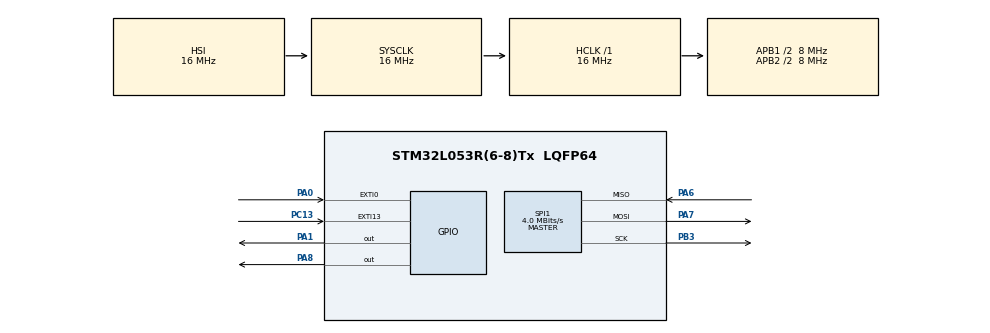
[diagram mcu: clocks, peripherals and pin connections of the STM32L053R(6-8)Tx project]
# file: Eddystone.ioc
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ADC.ContinuousConvMode=ENABLE
ADC.DMAContinuousRequests=ENABLE
ADC.EnableAnalogWatchDog=false
ADC.LowPowerAutoOff=ENABLE
ADC.LowPowerAutoWait=ENABLE
ADC.SamplingTime=ADC_SAMPLETIME_239CYCLES_5
Dma.ADC.0.Direction=DMA_PERIPH_TO_MEMORY
Dma.ADC.0.Instance=DMA1_Channel1
Dma.ADC.0.MemDataAlignment=DMA_MDATAALIGN_HALFWORD
Dma.ADC.0.MemInc=DMA_MINC_ENABLE
Dma.ADC.0.Mode=DMA_NORMAL
Dma.ADC.0.PeriphDataAlignment=DMA_PDATAALIGN_HALFWORD
Dma.ADC.0.PeriphInc=DMA_PINC_DISABLE
Dma.ADC.0.Priority=DMA_PRIORITY_MEDIUM
Dma.ADC.0.Request=DMA_REQUEST_0
Dma.Request0=ADC
Dma.Request1=SPI1_RX
Dma.Request2=SPI1_TX
Dma.SPI1_RX.1.Direction=DMA_PERIPH_TO_MEMORY
Dma.SPI1_RX.1.Instance=DMA1_Channel2
Dma.SPI1_RX.1.MemDataAlignment=DMA_MDATAALIGN_BYTE
Dma.SPI1_RX.1.MemInc=DMA_MINC_ENABLE
Dma.SPI1_RX.1.Mode=DMA_NORMAL
Dma.SPI1_RX.1.PeriphDataAlignment=DMA_PDATAALIGN_BYTE
Dma.SPI1_RX.1.PeriphInc=DMA_PINC_DISABLE
Dma.SPI1_RX.1.Priority=DMA_PRIORITY_HIGH
Dma.SPI1_RX.1.Request=DMA_REQUEST_1
Dma.SPI1_TX.2.Direction=DMA_MEMORY_TO_PERIPH
Dma.SPI1_TX.2.Instance=DMA1_Channel3
Dma.SPI1_TX.2.MemDataAlignment=DMA_MDATAALIGN_BYTE
Dma.SPI1_TX.2.MemInc=DMA_MINC_ENABLE
Dma.SPI1_TX.2.Mode=DMA_NORMAL
Dma.SPI1_TX.2.PeriphDataAlignment=DMA_PDATAALIGN_BYTE
Dma.SPI1_TX.2.PeriphInc=DMA_PINC_DISABLE
Dma.SPI1_TX.2.Priority=DMA_PRIORITY_HIGH
Dma.SPI1_TX.2.Request=DMA_REQUEST_1
Mcu.Family=STM32L0
Mcu.Name=STM32L053R(6-8)Tx
Mcu.Package=LQFP64
NVIC.DMA1_Channel1_IRQn=true\:2\:0\:true
NVIC.DMA1_Channel2_3_IRQn=true\:1\:0\:true
NVIC.EXTI0_1_IRQn=true\:3\:0\:true
NVIC.EXTI4_15_IRQn=true\:3\:0\:true
NVIC.RTC_IRQn=true\:0\:0\:true
PA0.GPIO_ModeDefaultEXTI=GPIO_MODE_IT_RISING
PA0.GPIO_PuPd=GPIO_NOPULL
PA0.Signal=GPXTI0
PA1.GPIO_ModeDefaultOutputPP=GPIO_MODE_OUTPUT_PP
PA1.GPIO_PuPd=GPIO_NOPULL
PA1.GPIO_Speed=GPIO_SPEED_HIGH
PA1.Signal=GPIO_Output
PA13.GPIO_Label=TMS
PA13.Mode=Serial_Wire
PA13.Signal=SYS_SWDIO
PA14.GPIO_Label=TCK
PA14.Mode=Serial_Wire
PA14.Signal=SYS_SWCLK
PA2.GPIO_Label=USART_TX
PA2.GPIO_Mode=GPIO_MODE_AF_PP
PA2.GPIO_PuPd=GPIO_NOPULL
PA2.GPIO_Speed=GPIO_SPEED_HIGH
PA2.Signal=USART2_TX
PA3.GPIO_Label=USART_RX
PA3.GPIO_Mode=GPIO_MODE_AF_PP
PA3.GPIO_PuPd=GPIO_NOPULL
PA3.GPIO_Speed=GPIO_SPEED_HIGH
PA3.Signal=USART2_RX
PA6.Mode=Full_Duplex_Master
PA6.Signal=SPI1_MISO
PA7.Mode=Full_Duplex_Master
PA7.Signal=SPI1_MOSI
PA8.GPIO_ModeDefaultOutputPP=GPIO_MODE_OUTPUT_PP
PA8.GPIO_PuPd=GPIO_PULLUP
PA8.GPIO_Speed=GPIO_SPEED_LOW
PA8.Signal=GPIO_Output
PB3.Mode=Full_Duplex_Master
PB3.Signal=SPI1_SCK
PC13.GPIO_ModeDefaultEXTI=GPIO_MODE_IT_FALLING
PC13.GPIO_PuPd=GPIO_NOPULL
PC13.Signal=GPXTI13
PC14-OSC32_IN.Mode=LSE-External-Oscillator
PC14-OSC32_IN.Signal=RCC_OSC32_IN
PC15-OSC32_OUT.Mode=LSE-External-Oscillator
PC15-OSC32_OUT.Signal=RCC_OSC32_OUT
PH0-OSC_IN.Signal=RCC_OSC_IN
PH1-OSC_OUT.Signal=RCC_OSC_OUT
ProjectManager.TargetToolchain=EWARM
RCC.AHBFreq_Value=16000000
RCC.APB1CLKDivider=RCC_HCLK_DIV2
RCC.APB1Freq_Value=8000000
RCC.APB1TimFreq_Value=16000000
RCC.APB2CLKDivider=RCC_HCLK_DIV2
RCC.APB2Freq_Value=8000000
RCC.APB2TimFreq_Value=16000000
RCC.HCLKFreq_Value=16000000
RCC.HSE_VALUE=8000000
RCC.HSI16_VALUE=16000000
RCC.HSI48_VALUE=48000000
RCC.HSI_VALUE=16000000
RCC.MSI_VALUE=2097000
RCC.PLLMUL=RCC_PLLMUL_4
RCC.RTCClockSelection=RCC_RTCCLKSOURCE_LSE
RCC.RTCClockSelectionVirtual=RCC_RTCCLKSOURCE_LSE
RCC.SYSCLKFreq_VALUE=16000000
RCC.SYSCLKSource=RCC_SYSCLKSOURCE_HSI
RCC.VCOOutputFreq_Value=64000000
RTC.AsynchPrediv=0x7f
RTC.Format=FORMAT_BIN
RTC.SynchPrediv=0xff
RTC.WakeUpClock=RTC_WAKEUPCLOCK_CK_SPRE_16BITS
RTC.WakeUpCounter=59
SPI1.BaudRatePrescaler=SPI_BAUDRATEPRESCALER_2
SPI1.CalculateBaudRate=4.0 MBits/s
SPI1.Mode=SPI_MODE_MASTER
VP_ADC_Vref_Input.Mode=IN-Vrefint
VP_RTC_VS_RTC_WakeUp_intern.Mode=WakeUp
board=NUCLEO-L053R8

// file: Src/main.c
/**
  ******************************************************************************
  * File Name          : main.c
  * Description        : Main program body
  ******************************************************************************
  *
  * COPYRIGHT(c) 2015 STMicroelectronics
  *
  * Redistribution and use in source and binary forms, with or without modification,
  * are permitted provided that the following conditions are met:
  *   1. Redistributions of source code must retain the above copyright notice,
  *      this list of conditions and the following disclaimer.
  *   2. Redistributions in binary form must reproduce the above copyright notice,
  *      this list of conditions and the following disclaimer in the documentation
  *      and/or other materials provided with the distribution.
  *   3. Neither the name of STMicroelectronics nor the names of its contributors
  *      may be used to endorse or promote products derived from this software
  *      without specific prior written permission.
  *
  * THIS SOFTWARE IS PROVIDED BY THE COPYRIGHT HOLDERS AND CONTRIBUTORS "AS IS"
  * AND ANY EXPRESS OR IMPLIED WARRANTIES, INCLUDING, BUT NOT LIMITED TO, THE
  * IMPLIED WARRANTIES OF MERCHANTABILITY AND FITNESS FOR A PARTICULAR PURPOSE ARE
  * DISCLAIMED. IN NO EVENT SHALL THE COPYRIGHT HOLDER OR CONTRIBUTORS BE LIABLE
  * FOR ANY DIRECT, INDIRECT, INCIDENTAL, SPECIAL, EXEMPLARY, OR CONSEQUENTIAL
  * DAMAGES (INCLUDING, BUT NOT LIMITED TO, PROCUREMENT OF SUBSTITUTE GOODS OR
  * SERVICES; LOSS OF USE, DATA, OR PROFITS; OR BUSINESS INTERRUPTION) HOWEVER
  * CAUSED AND ON ANY THEORY OF LIABILITY, WHETHER IN CONTRACT, STRICT LIABILITY,
  * OR TORT (INCLUDING NEGLIGENCE OR OTHERWISE) ARISING IN ANY WAY OUT OF THE USE
  * OF THIS SOFTWARE, EVEN IF ADVISED OF THE POSSIBILITY OF SUCH DAMAGE.
  *
  ******************************************************************************
  */
#include "stm32l0xx_hal.h"
#include "adc.h"
#include "dma.h"
#include "rtc.h"
#include "spi.h"
#include "gpio.h"

/* USER CODE BEGIN Includes */
#include <string.h>
#include "hal_types.h"
#include "hci.h"
#include "eddystone_beacon.h"
#include "eddystone_tlm_service.h"
#include "eddystone_uid_service.h"
#include "eddystone_url_service.h"
#include "x-nucleo-idb04a1.h"
/* USER CODE END Includes */

/* USER CODE BEGIN PV */
/* Private variables ---------------------------------------------------------*/
/* USER CODE END PV */

void SystemClock_Config(void);

/* USER CODE BEGIN PFP */
/* Private function prototypes -----------------------------------------------*/

/* USER CODE END PFP */

int main(void)
{

  /* USER CODE BEGIN 1 */
  HAL_EnableDBGStopMode();
  /* USER CODE END 1 */

  /* MCU Configuration----------------------------------------------------------*/

  /* Reset of all peripherals, Initializes the Flash interface and the Systick. */
  HAL_Init();

  /* Configure the system clock */
  SystemClock_Config();

  /* Initialize all configured peripherals */
  MX_GPIO_Init();
  MX_DMA_Init();
  MX_ADC_Init();
  MX_RTC_Init();
  MX_SPI1_Init();

  /* USER CODE BEGIN 2 */

  __HAL_RCC_WAKEUPSTOP_CLK_CONFIG(RCC_StopWakeUpClock_HSI);

  if (EDDYSTONE_BEACON_TYPE & EDDYSTONE_TLM_BEACON_TYPE)
  {
    EddystoneTLM_InitService();
  }

  /* Initialize the BlueNRG HCI */
  HCI_Init();

  /* Reset BlueNRG hardware */
  BlueNRG_RST();

  BlueNRG_Init();
  /* USER CODE END 2 */

  /* Infinite loop */
  while (1)
  {

  /* USER CODE BEGIN 3 */
    if (EDDYSTONE_BEACON_TYPE & EDDYSTONE_UID_BEACON_TYPE)
    {
      EddystoneUID_Process();
    }
    if (EDDYSTONE_BEACON_TYPE & EDDYSTONE_URL_BEACON_TYPE)
    {
      EddystoneURL_Process();
    }
    if (EDDYSTONE_BEACON_TYPE & EDDYSTONE_TLM_BEACON_TYPE)
    {
      EddystoneTLM_Process();
    }

    HCI_Process();
  }
  /* USER CODE END 3 */

}

/** System Clock Configuration
*/
void SystemClock_Config(void)
{

  RCC_OscInitTypeDef RCC_OscInitStruct;
  RCC_ClkInitTypeDef RCC_ClkInitStruct;
  RCC_PeriphCLKInitTypeDef PeriphClkInit;

  __PWR_CLK_ENABLE();

  __HAL_PWR_VOLTAGESCALING_CONFIG(PWR_REGULATOR_VOLTAGE_SCALE1);

  RCC_OscInitStruct.OscillatorType = RCC_OSCILLATORTYPE_HSI|RCC_OSCILLATORTYPE_LSE;
  RCC_OscInitStruct.LSEState = RCC_LSE_ON;
  RCC_OscInitStruct.HSIState = RCC_HSI_ON;
  RCC_OscInitStruct.HSICalibrationValue = 16;
  RCC_OscInitStruct.PLL.PLLState = RCC_PLL_NONE;
  HAL_RCC_OscConfig(&RCC_OscInitStruct);

  RCC_ClkInitStruct.ClockType = RCC_CLOCKTYPE_SYSCLK|RCC_CLOCKTYPE_PCLK1
                              |RCC_CLOCKTYPE_PCLK2;
  RCC_ClkInitStruct.SYSCLKSource = RCC_SYSCLKSOURCE_HSI;
  RCC_ClkInitStruct.AHBCLKDivider = RCC_SYSCLK_DIV1;
  RCC_ClkInitStruct.APB1CLKDivider = RCC_HCLK_DIV2;
  RCC_ClkInitStruct.APB2CLKDivider = RCC_HCLK_DIV2;
  HAL_RCC_ClockConfig(&RCC_ClkInitStruct, FLASH_LATENCY_0);

  PeriphClkInit.PeriphClockSelection = RCC_PERIPHCLK_RTC;
  PeriphClkInit.RTCClockSelection = RCC_RTCCLKSOURCE_LSE;
  HAL_RCCEx_PeriphCLKConfig(&PeriphClkInit);

  HAL_SYSTICK_Config(HAL_RCC_GetHCLKFreq()/1000);

  HAL_SYSTICK_CLKSourceConfig(SYSTICK_CLKSOURCE_HCLK);

}

/************************ (C) COPYRIGHT STMicroelectronics *****END OF FILE****/
